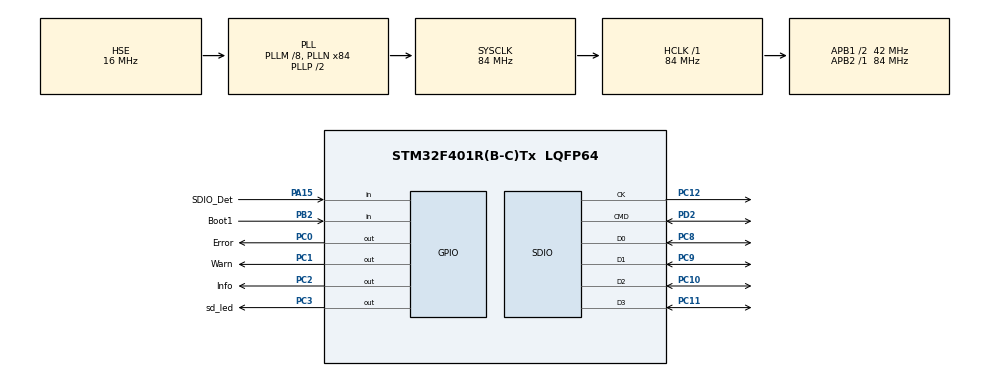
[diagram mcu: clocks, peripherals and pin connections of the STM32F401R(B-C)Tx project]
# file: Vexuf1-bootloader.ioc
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Dma.Request0=SDIO_RX
Dma.Request1=SDIO_TX
Dma.SDIO_RX.0.Direction=DMA_PERIPH_TO_MEMORY
Dma.SDIO_RX.0.FIFOMode=DMA_FIFOMODE_ENABLE
Dma.SDIO_RX.0.FIFOThreshold=DMA_FIFO_THRESHOLD_FULL
Dma.SDIO_RX.0.Instance=DMA2_Stream3
Dma.SDIO_RX.0.MemBurst=DMA_MBURST_INC4
Dma.SDIO_RX.0.MemDataAlignment=DMA_MDATAALIGN_WORD
Dma.SDIO_RX.0.MemInc=DMA_MINC_ENABLE
Dma.SDIO_RX.0.Mode=DMA_PFCTRL
Dma.SDIO_RX.0.PeriphBurst=DMA_PBURST_INC4
Dma.SDIO_RX.0.PeriphDataAlignment=DMA_PDATAALIGN_WORD
Dma.SDIO_RX.0.PeriphInc=DMA_PINC_DISABLE
Dma.SDIO_RX.0.Priority=DMA_PRIORITY_LOW
Dma.SDIO_TX.1.Direction=DMA_MEMORY_TO_PERIPH
Dma.SDIO_TX.1.FIFOMode=DMA_FIFOMODE_ENABLE
Dma.SDIO_TX.1.FIFOThreshold=DMA_FIFO_THRESHOLD_FULL
Dma.SDIO_TX.1.Instance=DMA2_Stream6
Dma.SDIO_TX.1.MemBurst=DMA_MBURST_INC4
Dma.SDIO_TX.1.MemDataAlignment=DMA_MDATAALIGN_WORD
Dma.SDIO_TX.1.MemInc=DMA_MINC_ENABLE
Dma.SDIO_TX.1.Mode=DMA_PFCTRL
Dma.SDIO_TX.1.PeriphBurst=DMA_PBURST_INC4
Dma.SDIO_TX.1.PeriphDataAlignment=DMA_PDATAALIGN_WORD
Dma.SDIO_TX.1.PeriphInc=DMA_PINC_DISABLE
Dma.SDIO_TX.1.Priority=DMA_PRIORITY_LOW
FATFS.BSP.number=1
FATFS.USE_DMA_CODE_SD=1
FATFS._MAX_SS=4096
FATFS._USE_LFN=1
FATFS0.BSP.STBoard=false
FATFS0.BSP.api=Unknown
FATFS0.BSP.instance=PA15
FATFS0.BSP.ip=GPIO
FATFS0.BSP.mode=Input
FATFS0.BSP.name=Detect_SDIO
FATFS0.BSP.solution=PA15
Mcu.Family=STM32F4
Mcu.Name=STM32F401R(B-C)Tx
Mcu.Package=LQFP64
NVIC.DMA2_Stream3_IRQn=true\:0\:0\:false\:false\:true\:false\:true\:true
NVIC.DMA2_Stream6_IRQn=true\:0\:0\:false\:false\:true\:false\:true\:true
NVIC.PriorityGroup=NVIC_PRIORITYGROUP_4
NVIC.SDIO_IRQn=true\:0\:0\:false\:false\:true\:true\:true\:true
PA13.Mode=Trace_Asynchronous_SW
PA13.Signal=SYS_JTMS-SWDIO
PA14.Mode=Trace_Asynchronous_SW
PA14.Signal=SYS_JTCK-SWCLK
PA15.GPIO_Label=SDIO_Det
PA15.Signal=GPIO_Input
PB2.GPIO_Label=Boot1
PB2.Signal=GPIO_Input
PB3.Mode=Trace_Asynchronous_SW
PB3.Signal=SYS_JTDO-SWO
PC0.GPIO_Label=Error
PC0.Signal=GPIO_Output
PC1.GPIO_Label=Warn
PC1.Signal=GPIO_Output
PC10.Mode=SD_4_bits_Wide_bus
PC10.Signal=SDIO_D2
PC11.Mode=SD_4_bits_Wide_bus
PC11.Signal=SDIO_D3
PC12.Mode=SD_4_bits_Wide_bus
PC12.Signal=SDIO_CK
PC14-OSC32_IN.Mode=LSE-External-Oscillator
PC14-OSC32_IN.Signal=RCC_OSC32_IN
PC15-OSC32_OUT.Mode=LSE-External-Oscillator
PC15-OSC32_OUT.Signal=RCC_OSC32_OUT
PC2.GPIO_Label=Info
PC2.Signal=GPIO_Output
PC3.GPIO_Label=sd_led
PC3.Signal=GPIO_Output
PC8.Mode=SD_4_bits_Wide_bus
PC8.Signal=SDIO_D0
PC9.Mode=SD_4_bits_Wide_bus
PC9.Signal=SDIO_D1
PD2.Mode=SD_4_bits_Wide_bus
PD2.Signal=SDIO_CMD
PH0\ -\ OSC_IN.Mode=HSE-External-Oscillator
PH0\ -\ OSC_IN.Signal=RCC_OSC_IN
PH1\ -\ OSC_OUT.Mode=HSE-External-Oscillator
PH1\ -\ OSC_OUT.Signal=RCC_OSC_OUT
ProjectManager.HeapSize=0x400
ProjectManager.StackSize=0x800
ProjectManager.TargetToolchain=STM32CubeIDE
RCC.48MHZClocksFreq_Value=42000000
RCC.AHBFreq_Value=84000000
RCC.APB1CLKDivider=RCC_HCLK_DIV2
RCC.APB1Freq_Value=42000000
RCC.APB1TimFreq_Value=84000000
RCC.APB2Freq_Value=84000000
RCC.APB2TimFreq_Value=84000000
RCC.CortexFreq_Value=84000000
RCC.EnbaleCSS=true
RCC.HCLKFreq_Value=84000000
RCC.HSE_VALUE=16000000
RCC.HSI_VALUE=16000000
RCC.PLLM=8
RCC.PLLN=84
RCC.PLLSourceVirtual=RCC_PLLSOURCE_HSE
RCC.RCC_RTC_Clock_Source=RCC_RTCCLKSOURCE_LSE
RCC.SYSCLKFreq_VALUE=84000000
RCC.SYSCLKSource=RCC_SYSCLKSOURCE_PLLCLK
RCC.VCOOutputFreq_Value=168000000
VP_FATFS_VS_SDIO.Mode=SDIO
VP_RTC_VS_RTC_Activate.Mode=RTC_Enabled
board=custom

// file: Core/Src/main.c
/* USER CODE BEGIN Header */
/**
  ******************************************************************************
  * @file           : main.c
  * @brief          : Main program body
  ******************************************************************************
  * @attention
  *
  * Copyright (c) 2024 STMicroelectronics.
  * All rights reserved.
  *
  * This software is licensed under terms that can be found in the LICENSE file
  * in the root directory of this software component.
  * If no LICENSE file comes with this software, it is provided AS-IS.
  *
  ******************************************************************************
  */
/* USER CODE END Header */
#include "main.h"
#include "dma.h"
#include "fatfs.h"
#include "rtc.h"
#include "sdio.h"
#include "gpio.h"

/* USER CODE BEGIN Includes */
#include <stdio.h>
#include <string.h>
/* USER CODE END Includes */

/* USER CODE BEGIN PD */
#define FILENAME "vexuf_fw.bin"
#define APPLICATION_ADDRESS 0x08008000 // Address after 32KB (0x8000)
#define BUFFER_SIZE 2048 // 2KB buffer
#define START_SECTOR FLASH_SECTOR_2 // use FLASH_SECTOR_2 for release and FLASH_SECTOR_3 for debug
#define NR_OF_SECTORS 4 // End sector is 5. This is the number of sectors to erase
/* USER CODE END PD */

/* USER CODE BEGIN PM */
// Enum for pin types
typedef enum {
    PIN_ERROR,
    PIN_WARN,
    PIN_INFO
} PinType;
/* USER CODE END PM */

void SystemClock_Config(void);
/* USER CODE BEGIN PFP */
int isBoot1High(void);
int flashFirmwareInChunks(FIL *file, uint32_t fileSize);
void jumpToApplication(void);
void toggleIndicator(PinType pinType, int delay, int times);
/* USER CODE END PFP */

/* USER CODE BEGIN 0 */
int isBoot1High(void) {
    return HAL_GPIO_ReadPin(GPIOB, GPIO_PIN_2) == GPIO_PIN_SET;
}

void toggleIndicator(PinType pinType, int delay, int times) {
    uint16_t pin;
    GPIO_TypeDef *port = GPIOC;

    // Determine which pin to toggle based on pinType
    switch (pinType) {
        case PIN_ERROR:
            pin = Error_Pin;
            break;
        case PIN_WARN:
            pin = Warn_Pin;
            break;
        case PIN_INFO:
            pin = Info_Pin;
            break;
        default:
            return; // Invalid pinType, exit function
    }

    for (int i = 0; i < times * 2; i++) {
        HAL_GPIO_TogglePin(port, pin);
        HAL_Delay(delay);
    }
    HAL_Delay(delay * 4);

}

int flashFirmwareInChunks(FIL *file, uint32_t fileSize) {
	FLASH_EraseInitTypeDef EraseInitStruct;
	uint32_t SectorError;
	uint8_t buffer[BUFFER_SIZE];
	uint32_t bytesRead = 0;
	UINT readBytes;
	uint32_t address = APPLICATION_ADDRESS;

	toggleIndicator(PIN_WARN, 30, 3);
	HAL_FLASH_Unlock();

	//Erase the application sectors in the flash memory
	EraseInitStruct.TypeErase = FLASH_TYPEERASE_SECTORS;
	EraseInitStruct.VoltageRange = FLASH_VOLTAGE_RANGE_3;
	EraseInitStruct.Sector = START_SECTOR; //Specify start sector number
	EraseInitStruct.NbSectors = NR_OF_SECTORS; //Specify num of sectors
	int res = HAL_FLASHEx_Erase(&EraseInitStruct, &SectorError);

	if (res != HAL_OK) {
		HAL_FLASH_Lock();
		return HAL_ERROR;
	}

	// Write the new firmware in chunks
	while (bytesRead < fileSize) {
		FRESULT res = f_read(file, buffer, BUFFER_SIZE, &readBytes);
		if (res != FR_OK || readBytes == 0) {
			HAL_FLASH_Lock();
			return HAL_ERROR;
		}

		for (uint32_t i = 0; i < readBytes; i += 4) {
			if (HAL_FLASH_Program(FLASH_TYPEPROGRAM_WORD, address + i, *(uint32_t *)(buffer + i)) != HAL_OK) {
				HAL_FLASH_Lock();
				return HAL_ERROR;
			}
		}

		address += readBytes;
		bytesRead += readBytes;
		toggleIndicator(PIN_WARN, 30, 3);
	}

	HAL_FLASH_Lock();
	return HAL_OK;
}

void jumpToApplication(void) {
	uint32_t appJumpAddress = *(__IO uint32_t *)(APPLICATION_ADDRESS + 4);
	void (*appResetHandler)(void) = (void (*)(void))appJumpAddress;

    // Deinitialize peripherals and system to reset state
	HAL_DeInit();
	 // Set the vector table to the application location
	SCB->VTOR = APPLICATION_ADDRESS;
	// Set the stack pointer
	__set_MSP(*(__IO uint32_t *)APPLICATION_ADDRESS);
	// Jump to application reset handler
	appResetHandler();
}
/* USER CODE END 0 */

int main(void)
{

  /* MCU Configuration--------------------------------------------------------*/

  /* Reset of all peripherals, Initializes the Flash interface and the Systick. */
  HAL_Init();

  /* Configure the system clock */
  SystemClock_Config();

  /* Initialize all configured peripherals */
  MX_GPIO_Init();
  MX_DMA_Init();
  MX_RTC_Init();
  MX_SDIO_SD_Init();
  MX_FATFS_Init();
  /* USER CODE BEGIN 2 */
	if (!isBoot1High()) {
		jumpToApplication();
	}
	// Turn on the SD Card Led before accessing the SD Card.
	HAL_GPIO_WritePin(sd_led_GPIO_Port, sd_led_Pin, GPIO_PIN_SET);

	// Show the Start LED sequence.
	toggleIndicator(PIN_ERROR, 50, 1);
	toggleIndicator(PIN_WARN, 50, 1);
	toggleIndicator(PIN_INFO, 50, 1);

	FIL file;
	FRESULT res;
	uint32_t fileSize;
	FATFS FatFs;

	res = f_mount(&FatFs, SDPath, 1);

	if (res == FR_OK) {
		res = f_open(&file, FILENAME, FA_READ);
		if (res == FR_OK) {
			fileSize = f_size(&file);
			toggleIndicator(PIN_INFO, 150, 5);
			if (flashFirmwareInChunks(&file, fileSize) == HAL_OK) {
				f_close(&file);

				// Delete the firmware file from SD Card.
				f_unlink(FILENAME);

				// Show the Success LED Sequence.
				toggleIndicator(PIN_INFO, 150, 5);
				HAL_Delay(1000);

				// Show the End LED sequence.
				toggleIndicator(PIN_INFO, 50, 1);
				toggleIndicator(PIN_WARN, 50, 1);
				toggleIndicator(PIN_ERROR, 50, 1);

				// Turn the SD Card LED off.
				HAL_GPIO_WritePin(sd_led_GPIO_Port, sd_led_Pin, GPIO_PIN_RESET);

				jumpToApplication();
	    	}
			f_close(&file);
	    }

	}

	// Reaching this code means there was an error.
	toggleIndicator(PIN_ERROR, 150, 5);
	// Turn the SD Card LED off.
	HAL_GPIO_WritePin(sd_led_GPIO_Port, sd_led_Pin, GPIO_PIN_RESET);
	jumpToApplication();
  /* USER CODE END 2 */

  /* Infinite loop */
	while (1)
	{

	}
}

void SystemClock_Config(void)
{
  RCC_OscInitTypeDef RCC_OscInitStruct = {0};
  RCC_ClkInitTypeDef RCC_ClkInitStruct = {0};

  /** Configure the main internal regulator output voltage
  */
  __HAL_RCC_PWR_CLK_ENABLE();
  __HAL_PWR_VOLTAGESCALING_CONFIG(PWR_REGULATOR_VOLTAGE_SCALE2);

  /** Initializes the RCC Oscillators according to the specified parameters
  * in the RCC_OscInitTypeDef structure.
  */
  RCC_OscInitStruct.OscillatorType = RCC_OSCILLATORTYPE_HSE|RCC_OSCILLATORTYPE_LSE;
  RCC_OscInitStruct.HSEState = RCC_HSE_ON;
  RCC_OscInitStruct.LSEState = RCC_LSE_ON;
  RCC_OscInitStruct.PLL.PLLState = RCC_PLL_ON;
  RCC_OscInitStruct.PLL.PLLSource = RCC_PLLSOURCE_HSE;
  RCC_OscInitStruct.PLL.PLLM = 8;
  RCC_OscInitStruct.PLL.PLLN = 84;
  RCC_OscInitStruct.PLL.PLLP = RCC_PLLP_DIV2;
  RCC_OscInitStruct.PLL.PLLQ = 4;
  if (HAL_RCC_OscConfig(&RCC_OscInitStruct) != HAL_OK)
  {
    Error_Handler();
  }

  /** Initializes the CPU, AHB and APB buses clocks
  */
  RCC_ClkInitStruct.ClockType = RCC_CLOCKTYPE_HCLK|RCC_CLOCKTYPE_SYSCLK
                              |RCC_CLOCKTYPE_PCLK1|RCC_CLOCKTYPE_PCLK2;
  RCC_ClkInitStruct.SYSCLKSource = RCC_SYSCLKSOURCE_PLLCLK;
  RCC_ClkInitStruct.AHBCLKDivider = RCC_SYSCLK_DIV1;
  RCC_ClkInitStruct.APB1CLKDivider = RCC_HCLK_DIV2;
  RCC_ClkInitStruct.APB2CLKDivider = RCC_HCLK_DIV1;

  if (HAL_RCC_ClockConfig(&RCC_ClkInitStruct, FLASH_LATENCY_2) != HAL_OK)
  {
    Error_Handler();
  }

  /** Enables the Clock Security System
  */
  HAL_RCC_EnableCSS();
}

void Error_Handler(void)
{
  __disable_irq();
  while (1)
  {
  }
}
